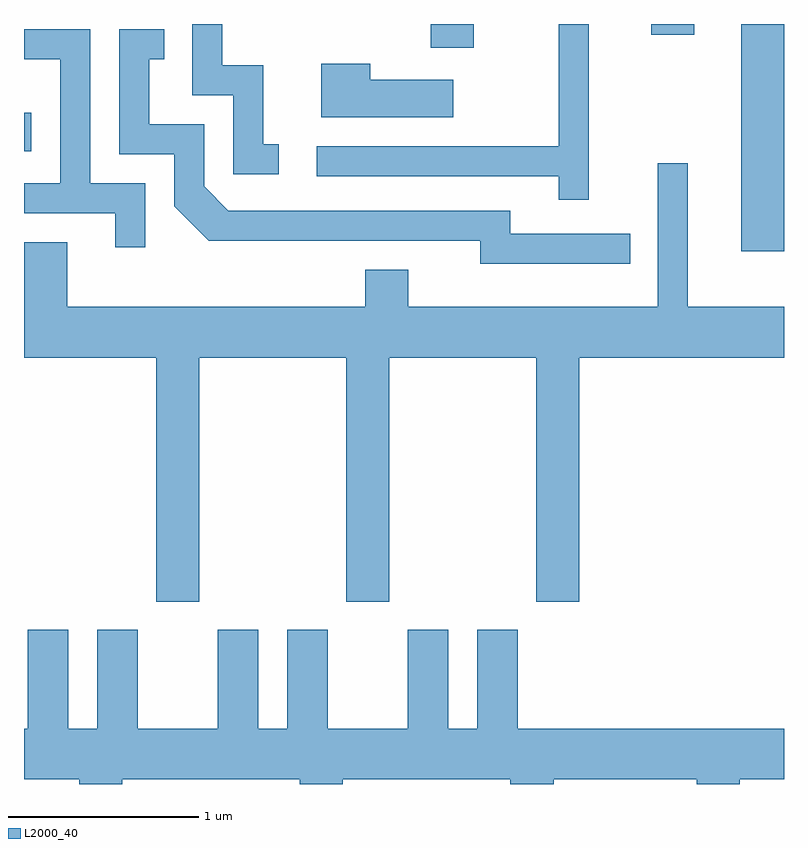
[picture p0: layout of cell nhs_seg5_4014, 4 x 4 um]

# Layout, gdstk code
import gdstk
lib = gdstk.Library(unit=1e-6, precision=1e-09)
def R(c, l, rs):  # rectangles x0, y0, x1, y1
    for r in rs: c.add(gdstk.rectangle(r[:2], r[2:], *l))
def P(c, l, *ps):  # polygons
    for p in ps: c.add(gdstk.Polygon(p, *l))
L2000_40 = (2000, 40)

nhs_seg5_4014 = lib.new_cell('nhs_seg5_4014')
R(nhs_seg5_4014, L2000_40, [(307.386,1492.876,307.611,1494.072), (303.611,1493.401,303.649,1493.604), (305.751,1493.946,305.979,1494.072), (306.911,1494.016,307.139,1494.072)])
P(nhs_seg5_4014, L2000_40, [(304.953,1493.439),(304.869,1493.439),(304.869,1493.854),(304.654,1493.854),(304.654,1494.072),(304.496,1494.072),(304.496,1493.696),(304.711,1493.696),(304.711,1493.281),(304.953,1493.281)],
  [(306.584,1494.072),(306.426,1494.072),(306.426,1493.429),(305.153,1493.429),(305.153,1493.271),(306.426,1493.271),(306.426,1493.148),(306.584,1493.148)],
  [(306.803,1492.969),(306.169,1492.969),(306.169,1493.089),(304.687,1493.089),(304.559,1493.217),(304.559,1493.544),(304.269,1493.544),(304.269,1493.886),(304.348,1493.886),(304.348,1494.044),(304.111,1494.044),(304.111,1493.386),(304.401,1493.386),(304.401,1493.114),(304.584,1492.931),(306.011,1492.931),(306.011,1492.811),(306.803,1492.811)],
  [(304.249,1493.234),(303.959,1493.234),(303.959,1494.044),(303.611,1494.044),(303.611,1493.886),(303.801,1493.886),(303.801,1493.234),(303.611,1493.234),(303.611,1493.076),(304.091,1493.076),(304.091,1492.898),(304.249,1492.898)],
  [(305.869,1493.779),(305.434,1493.779),(305.434,1493.864),(305.176,1493.864),(305.176,1493.581),(305.869,1493.581)],
  [(304.534,1492.316),(305.306,1492.316),(305.306,1491.031),(305.534,1491.031),(305.534,1492.316),(306.306,1492.316),(306.306,1491.031),(306.534,1491.031),(306.534,1492.316),(307.611,1492.316),(307.611,1492.584),(307.104,1492.584),(307.104,1493.338),(306.946,1493.338),(306.946,1492.584),(305.634,1492.584),(305.634,1492.779),(305.406,1492.779),(305.406,1492.584),(303.839,1492.584),(303.839,1492.924),(303.611,1492.924),(303.611,1492.316),(304.306,1492.316),(304.306,1491.031),(304.534,1491.031)],
  [(304.129,1490.096),(305.061,1490.096),(305.061,1490.072),(305.289,1490.072),(305.289,1490.096),(306.171,1490.096),(306.171,1490.072),(306.399,1490.072),(306.399,1490.096),(307.151,1490.096),(307.151,1490.072),(307.379,1490.072),(307.379,1490.096),(307.611,1490.096),(307.611,1490.364),(306.209,1490.364),(306.209,1490.884),(305.996,1490.884),(305.996,1490.364),(305.844,1490.364),(305.844,1490.884),(305.631,1490.884),(305.631,1490.364),(305.209,1490.364),(305.209,1490.884),(304.996,1490.884),(304.996,1490.364),(304.844,1490.364),(304.844,1490.884),(304.631,1490.884),(304.631,1490.364),(304.209,1490.364),(304.209,1490.884),(303.996,1490.884),(303.996,1490.364),(303.844,1490.364),(303.844,1490.884),(303.631,1490.884),(303.631,1490.364),(303.611,1490.364),(303.611,1490.096),(303.901,1490.096),(303.901,1490.072),(304.129,1490.072)])

lib.write_gds('nhs_seg5_4014.gds')
